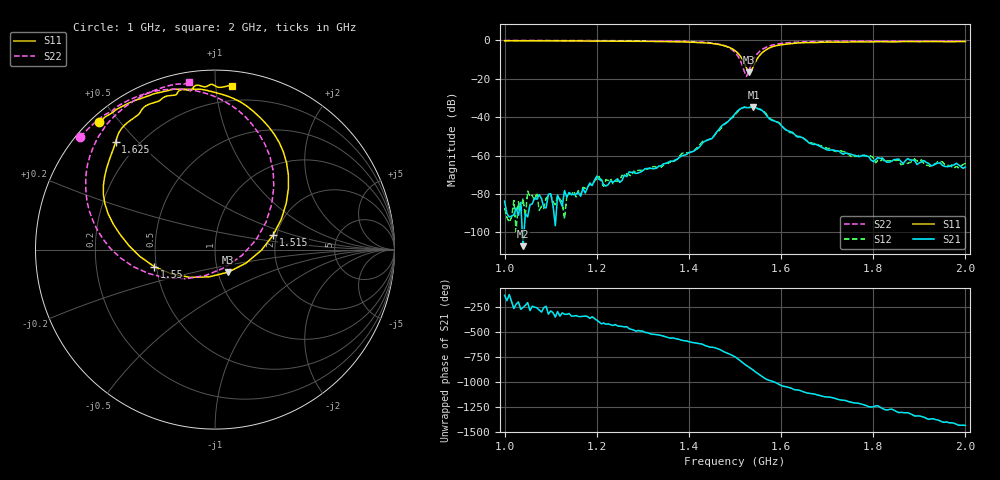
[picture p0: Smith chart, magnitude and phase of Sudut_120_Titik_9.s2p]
# Hz S RI R 50
! CMT, C1220, 16058040, 17.2.0/1
! Date: 14/08/2018 11:55:59
! Data: Format (Calibration Info)
! Freq  S11: Re/Im (F2)  S21: Re/Im (F2)  S12: Re/Im (F2)  S22: Re/Im (F2)
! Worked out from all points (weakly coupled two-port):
!   201 points, 1 GHz to 2 GHz, reference 50 ohm
!   highest |S21| = -34.81 dB at 1.54 GHz (marker M1); lowest = -107.1 dB at 1.04 GHz (marker M2)
!   lowest |S11| = -16.7 dB at 1.53 GHz (marker M3), VSWR 1.34, Z = 55.9 - j14.4 ohm
!   |S11| at or under -10 dB: 1.516 GHz to 1.548 GHz (31.66 MHz wide, 2.07 % of centre)
!   |S22| runs from -18.9 to -0.2 dB; largest |S21 - S12| = 0.00081
!   S11 on the Smith chart (normalised r, x): 1 GHz: 0.02, +0.44; 1.515 GHz: 1.92, +0.34; 1.55 GHz: 0.49, -0.10; 1.625 GHz: 0.12, +0.43; 2 GHz: 0.10, +1.10
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1e9  -0.6437 0.7112  -4.22e-05 -4.96e-05  -2.22e-05 3.62e-05  -0.75 0.6271
1.04e9  -0.6137 0.7378  -1.37e-06 4.18e-06  -5.5e-05 5.38e-05  -0.7218 0.6573
1.165e9  -0.479 0.8172  8.43e-05 2.46e-05  8.36e-05 3.36e-05  -0.6176 0.7491
1.17e9  -0.4716 0.8205  0.000131 4.72e-05  0.000144 3.75e-05  -0.6121 0.7523
1.175e9  -0.4633 0.8237  9.77e-05 3.99e-05  0.000139 -1.39e-05  -0.6065 0.7556
1.2e9  -0.4287 0.8363  0.000274 -9.93e-05  0.000227 -0.000103  -0.5781 0.7656
1.215e9  -0.4161 0.8409  0.000115 -0.000127  7.22e-05 -0.000142  -0.5713 0.7738
1.22e9  -0.4095 0.8429  7.96e-05 -0.000141  0.000142 -0.000189  -0.5669 0.7792
1.235e9  -0.3816 0.8525  5.91e-05 -0.000192  6.6e-05 -0.000172  -0.5503 0.7933
1.335e9  -0.2142 0.8933  -0.000521 -0.000114  -0.00054 -4.03e-05  -0.3954 0.8661
1.45e9  0.1814 0.7963  0.000957 0.00258  0.00119 0.0026  0.0273 0.8394
1.5e9  0.409 0.3408  0.0108 -0.00525  0.0101 -0.00498  0.3277 0.3498
1.515e9  0.3235 0.08  0.00319 -0.0167  0.0037 -0.0167  0.2292 0.0551
1.525e9  0.1722 -0.0757  -0.00748 -0.0159  -0.00742 -0.0161  0.0559 -0.0993
1.53e9  0.0731 -0.1257  -0.011 -0.0136  -0.0111 -0.0138  -0.052 -0.144
1.54e9  -0.1401 -0.1547  -0.0172 -0.00577  -0.0171 -0.00574  -0.2738 -0.1581
1.55e9  -0.3396 -0.0942  -0.0158 0.00441  -0.0159 0.00391  -0.4557 -0.0946
1.58e9  -0.6135 0.2548  -1.41e-05 0.00821  0.000346 0.00853  -0.7011 0.2178
1.625e9  -0.5538 0.5982  0.00389 0.000857  0.00372 0.000927  -0.6963 0.5225
1.67e9  -0.4407 0.7416  0.00152 -0.00119  0.00161 -0.00127  -0.6202 0.6739
1.835e9  -0.1443 0.8862  -0.000652 0.000165  -0.00071 0.000132  -0.3698 0.8735
2e9  0.0941 0.9112  0.000501 4.18e-05  0.000629 7.38e-06  -0.1464 0.931
